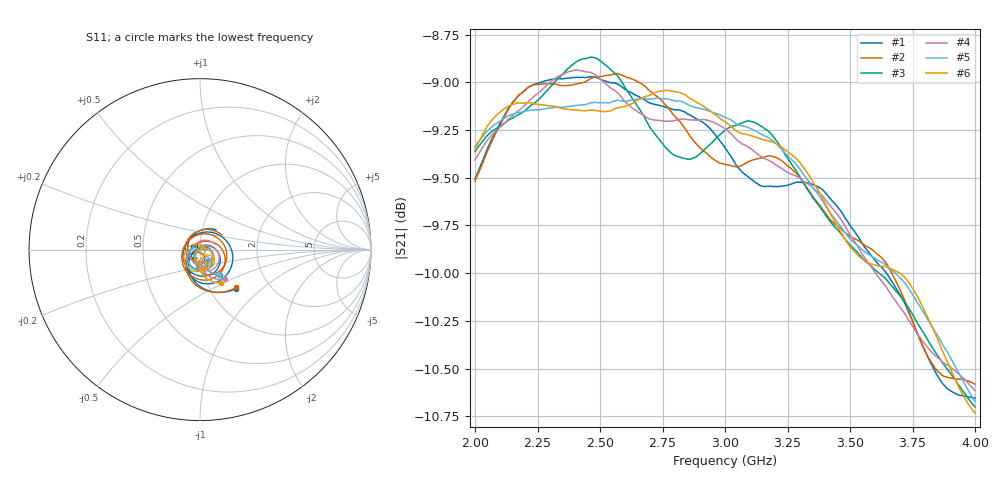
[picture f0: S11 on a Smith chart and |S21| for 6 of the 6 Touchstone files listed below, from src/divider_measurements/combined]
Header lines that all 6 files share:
! Created with skrf 1.8.0 (http://scikit-rf.org).
# Hz S RI R 50.0
!freq ReS11 ImS11 ReS12 ImS12 ReS13 ImS13
! ReS14 ImS14 ReS15 ImS15
! ReS21 ImS21 ReS22 ImS22 ReS23 ImS23
! ReS24 ImS24 ReS25 ImS25
! ReS31 ImS31 ReS32 ImS32 ReS33 ImS33
! ReS34 ImS34 ReS35 ImS35
! ReS41 ImS41 ReS42 ImS42 ReS43 ImS43
! ReS44 ImS44 ReS45 ImS45
! ReS51 ImS51 ReS52 ImS52 ReS53 ImS53
! ReS54 ImS54 ReS55 ImS55
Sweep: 2 GHz to 4 GHz
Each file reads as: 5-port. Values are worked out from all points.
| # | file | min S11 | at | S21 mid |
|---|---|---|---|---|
| 1 | 00000000.s5p | -36.6 dB | 2.28 GHz | -9.3 dB at 3 GHz |
| 2 | 00010203.s5p | -28.2 dB | 2.27 GHz | -9.4 dB at 3 GHz |
| 3 | 00020406.s5p | -41.0 dB | 2.65 GHz | -9.3 dB at 3 GHz |
| 4 | 00030609.s5p | -36.9 dB | 2.76 GHz | -9.2 dB at 3 GHz |
| 5 | 00040812.s5p | -55.3 dB | 2.66 GHz | -9.2 dB at 3 GHz |
| 6 | 00051015.s5p | -54.4 dB | 3.97 GHz | -9.2 dB at 3 GHz |
